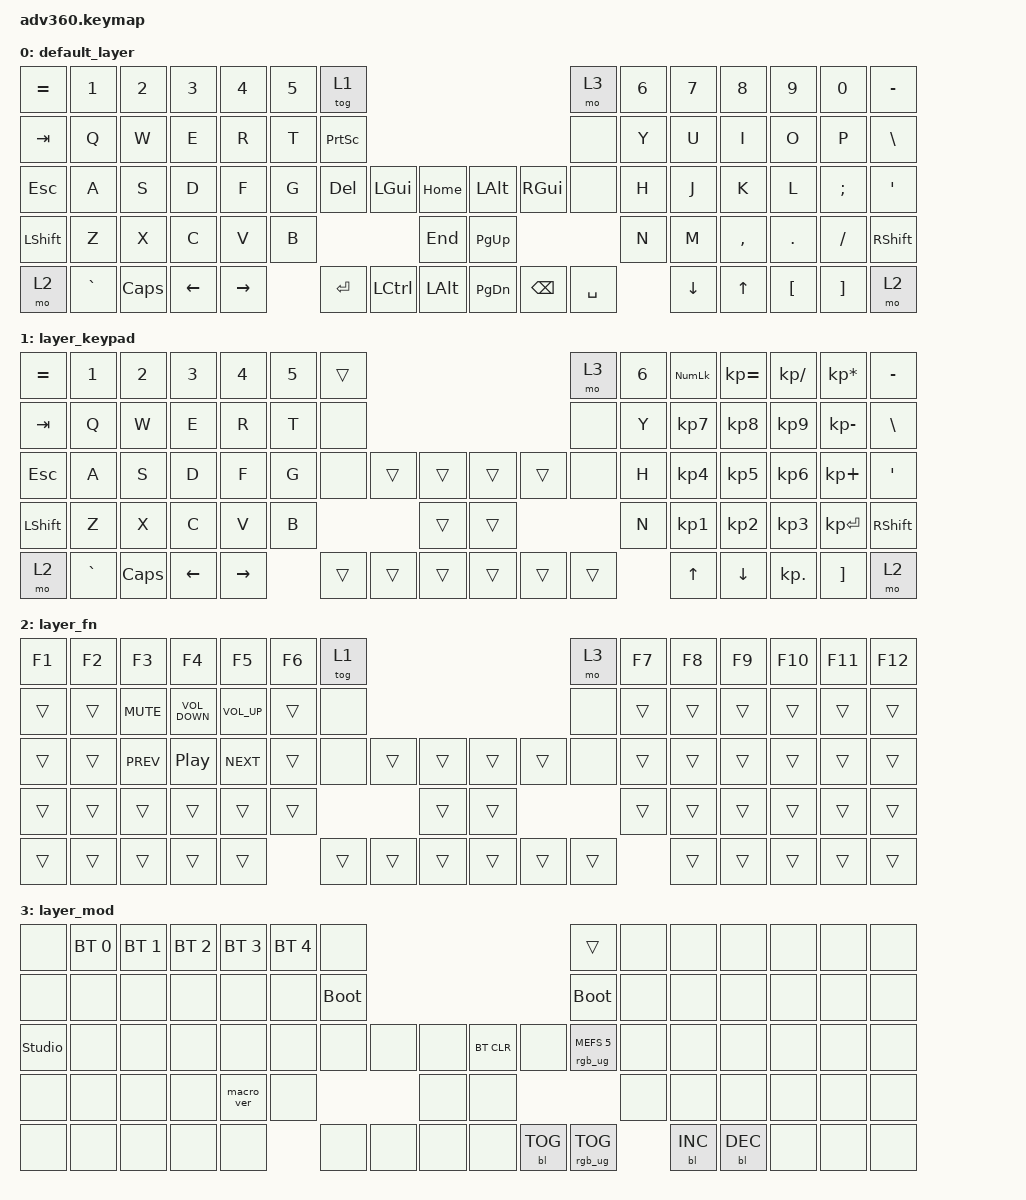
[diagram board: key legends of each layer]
/*
 * Copyright (c) 2020 The ZMK Contributors
 *
 * SPDX-License-Identifier: MIT
 */
/* THIS FILE WAS GENERATED!
 *
 * This file was generated automatically. You may or may not want to
 * edit it directly.
 */

#include <dt-bindings/zmk/stp.h>
#include <behaviors.dtsi>
#include <dt-bindings/zmk/backlight.h>
#include <dt-bindings/zmk/bt.h>
#include <dt-bindings/zmk/keys.h>
#include <dt-bindings/zmk/rgb.h>

/ {
    behaviors {
        #include "macros.dtsi"
    #include "version.dtsi"

        hm: homerow_mods {
            compatible = "zmk,behavior-hold-tap";
            label = "HOMEROW_MODS";
            #binding-cells = <2>;
            tapping-term-ms = <200>;
            quick_tap_ms = <175>;
            flavor = "tap-preferred";
            bindings = <&kp>, <&kp>;
        };

        extra1 {
            display-name = "Red";
            status = "reserved";
        };

        extra2 {
            display-name = "Purple";
            status = "reserved";
        };

        extra3 {
            display-name = "Cyan";
            status = "reserved";
        };

        extra4 {
            display-name = "Yellow";
            status = "reserved";
        };
    };

    keymap {
        compatible = "zmk,keymap";

        default_layer {
            bindings = <
&kp EQUAL  &kp N1     &kp N2    &kp N3    &kp N4     &kp N5  &tog 1                                                                        &mo 3      &kp N6  &kp N7    &kp N8     &kp N9    &kp N0    &kp MINUS
&kp TAB    &kp Q      &kp W     &kp E     &kp R      &kp T   &kp PRINTSCREEN                                                               &none      &kp Y   &kp U     &kp I      &kp O     &kp P     &kp BSLH
&kp ESC    &kp A      &kp S     &kp D     &kp F      &kp G   &kp DELETE       &kp LEFT_GUI  &kp HOME          &kp LEFT_ALT  &kp RIGHT_GUI  &none      &kp H   &kp J     &kp K      &kp L     &kp SEMI  &kp SQT
&kp LSHFT  &kp Z      &kp X     &kp C     &kp V      &kp B                                  &kp END           &kp PG_UP                               &kp N   &kp M     &kp COMMA  &kp DOT   &kp FSLH  &kp RSHFT
&mo 2      &kp GRAVE  &kp CAPS  &kp LEFT  &kp RIGHT          &kp ENTER        &kp LCTRL     &kp LEFT_ALT      &kp PG_DN     &kp BACKSPACE  &kp SPACE          &kp DOWN  &kp UP     &kp LBKT  &kp RBKT  &mo 2
            >;
        };

        layer_keypad {
            bindings = <
&kp EQUAL  &kp N1     &kp N2    &kp N3    &kp N4     &kp N5  &trans                                      &mo 3   &kp N6  &kp KP_NUM  &kp KP_EQUAL  &kp KP_DIVIDE  &kp KP_MULTIPLY  &kp MINUS
&kp TAB    &kp Q      &kp W     &kp E     &kp R      &kp T   &none                                       &none   &kp Y   &kp KP_N7   &kp KP_N8     &kp KP_N9      &kp KP_MINUS     &kp BSLH
&kp ESC    &kp A      &kp S     &kp D     &kp F      &kp G   &none   &trans  &trans      &trans  &trans  &none   &kp H   &kp KP_N4   &kp KP_N5     &kp KP_N6      &kp KP_PLUS      &kp SQT
&kp LSHFT  &kp Z      &kp X     &kp C     &kp V      &kp B                   &trans      &trans                  &kp N   &kp KP_N1   &kp KP_N2     &kp KP_N3      &kp KP_ENTER     &kp RSHFT
&mo 2      &kp GRAVE  &kp CAPS  &kp LEFT  &kp RIGHT          &trans  &trans  &trans      &trans  &trans  &trans          &kp UP      &kp DOWN      &kp KP_DOT     &kp RBKT         &mo 2
            >;
        };

        layer_fn {
            bindings = <
&kp F1  &kp F2  &kp F3      &kp F4             &kp F5           &kp F6  &tog 1                                      &mo 3   &kp F7  &kp F8  &kp F9  &kp F10  &kp F11  &kp F12
&trans  &trans  &kp C_MUTE  &kp C_VOLUME_DOWN  &kp C_VOLUME_UP  &trans  &none                                       &none   &trans  &trans  &trans  &trans   &trans   &trans
&trans  &trans  &kp C_PREV  &kp C_PLAY_PAUSE   &kp C_NEXT       &trans  &none   &trans  &trans      &trans  &trans  &none   &trans  &trans  &trans  &trans   &trans   &trans
&trans  &trans  &trans      &trans             &trans           &trans                  &trans      &trans                  &trans  &trans  &trans  &trans   &trans   &trans
&trans  &trans  &trans      &trans             &trans                   &trans  &trans  &trans      &trans  &trans  &trans          &trans  &trans  &trans   &trans   &trans
            >;
        };

        layer_mod {
            bindings = <
&none           &bt BT_SEL 0  &bt BT_SEL 1  &bt BT_SEL 2  &bt BT_SEL 3  &bt BT_SEL 4  &none                                                  &trans                  &none  &none       &none       &none  &none  &none
&none           &none         &none         &none         &none         &none         &bootloader                                            &bootloader             &none  &none       &none       &none  &none  &none
&studio_unlock  &none         &none         &none         &none         &none         &none        &none  &none      &bt BT_CLR  &none       &rgb_ug RGB_MEFS_CMD 5  &none  &none       &none       &none  &none  &none
&none           &none         &none         &none         &macro_ver    &none                             &none      &none                                           &none  &none       &none       &none  &none  &none
&none           &none         &none         &none         &none                       &none        &none  &none      &none       &bl BL_TOG  &rgb_ug RGB_TOG                &bl BL_INC  &bl BL_DEC  &none  &none  &none
            >;
        };
    };
};
